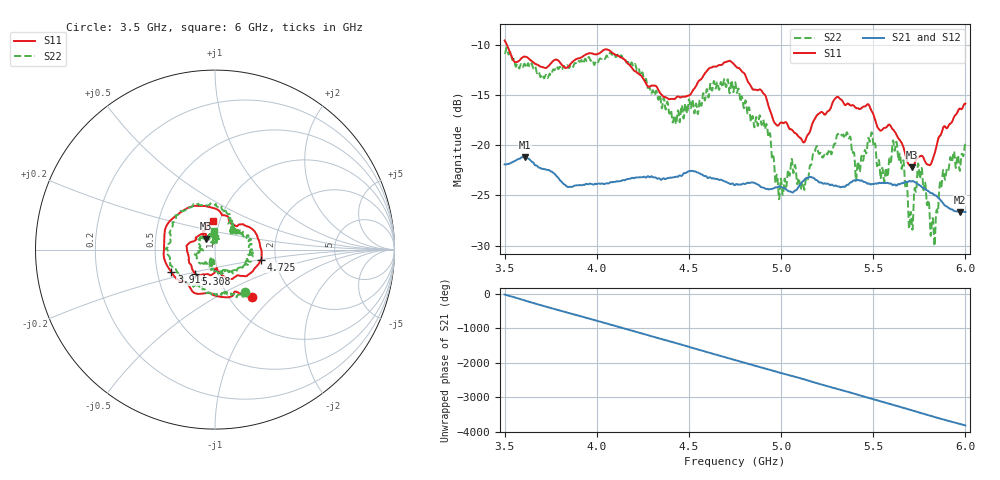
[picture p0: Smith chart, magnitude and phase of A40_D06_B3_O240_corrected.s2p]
! Created with skrf 1.9.0 (http://scikit-rf.org).
# Hz S RI R 50.0
!freq ReS11 ImS11 ReS21 ImS21 ReS12 ImS12 ReS22 ImS22
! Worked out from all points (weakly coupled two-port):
!   1601 points, 3.5 GHz to 6 GHz, reference 50 ohm
!   highest |S21| = -21.17 dB at 3.609 GHz (marker M1); lowest = -26.7 dB at 5.97 GHz (marker M2)
!   lowest |S11| = -22.2 dB at 5.711 GHz (marker M3), VSWR 1.17, Z = 45 + j5.43 ohm
!   |S11| at or under -10 dB: 3.513 GHz to end of sweep
!   |S22| runs from -30.1 to -10.3 dB; largest |S21 - S12| = 0.00098
!   S11 on the Smith chart (normalised r, x): 3.5 GHz: 1.26, -0.75; 3.914 GHz: 0.59, -0.16; 4.725 GHz: 1.68, -0.20; 5.308 GHz: 0.78, -0.22; 6 GHz: 0.93, +0.31
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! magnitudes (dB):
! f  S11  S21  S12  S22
! 3.5 GHz  -9.5  -21.9  -21.9  -10.8
! 3.609 GHz  -11.2  -21.2  -21.1  -11.9
! 3.914 GHz  -11.3  -24.0  -23.9  -11.5
! 3.917 GHz  -11.2  -24.0  -24.0  -11.5
! 4.141 GHz  -11.3  -23.5  -23.5  -11.3
! 4.334 GHz  -14.5  -23.3  -23.2  -15.5
! 4.422 GHz  -15.4  -23.2  -23.1  -17.0
! 4.725 GHz  -11.6  -23.9  -23.8  -14.4
! 4.75 GHz  -12.0  -24.0  -23.9  -13.8
! 4.93 GHz  -16.0  -24.4  -24.3  -19.0
! 4.998 GHz  -17.7  -24.2  -24.1  -23.3
! 5.167 GHz  -18.0  -23.2  -23.1  -21.6
! 5.308 GHz  -15.2  -24.1  -24.0  -18.9
! 5.416 GHz  -16.3  -23.5  -23.5  -21.7
! 5.584 GHz  -17.9  -23.8  -23.7  -21.8
! 5.619 GHz  -18.7  -23.9  -23.9  -20.4
! 5.711 GHz  -22.2  -23.6  -23.5  -28.2
! 5.753 GHz  -21.1  -24.0  -23.9  -23.3
! 5.823 GHz  -21.3  -24.8  -24.8  -27.3
! 5.872 GHz  -18.7  -25.6  -25.6  -23.9
! 5.97 GHz  -16.3  -26.7  -26.6  -22.6
! 6 GHz  -15.8  -26.6  -26.6  -19.9
